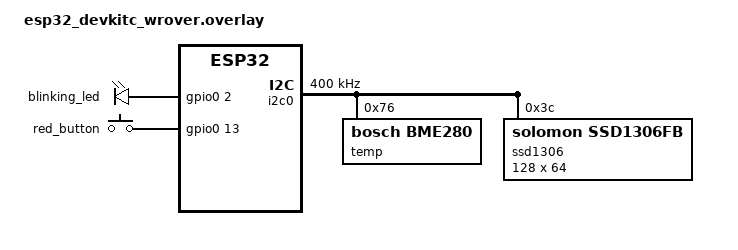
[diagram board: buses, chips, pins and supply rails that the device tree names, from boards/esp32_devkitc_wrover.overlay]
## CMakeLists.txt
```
cmake_minimum_required(VERSION 3.22)
# Determine the build type
if (NOT BUILD_TYPE)
  set(BUILD_TYPE debug)
endif()

# Print out build type
message(STATUS "Build type: ${BUILD_TYPE} 🚀")

set(BOARD esp32)
# set(SHIELD ssd1306_128x32)

find_package(Zephyr)

project(zephyr-oled-project)

target_sources(app PRIVATE 
    src/main.c
    src/button.c
    )
```

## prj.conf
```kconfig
#CONFIG_PWM=y

# GPIO
CONFIG_GPIO=y

# Logging
CONFIG_LOG=y
CONFIG_CONSOLE=y
CONFIG_LOG_DEFAULT_LEVEL=3 

# Sensors
CONFIG_I2C=y
CONFIG_SENSOR=y

# Display
CONFIG_DISPLAY=y
# CONFIG_DISPLAY_LOG_LEVEL_DBG=y
CONFIG_SSD1306=y
CONFIG_DISPLAY_LOG_LEVEL_ERR=y
CONFIG_CHARACTER_FRAMEBUFFER=n


# LVLG

CONFIG_LV_Z_BITS_PER_PIXEL=1
CONFIG_LV_COLOR_DEPTH_1=y
CONFIG_LVGL=y
CONFIG_LV_USE_THEME_DEFAULT=n
CONFIG_LV_Z_VDB_SIZE=100
CONFIG_LV_FONT_DEFAULT_UNSCII_8=y
CONFIG_LV_USE_LOG=y

# Size of the memory region from which lvgl memory is allocated
#CONFIG_LV_Z_MEM_POOL_SIZE=200


# Do not include every widget/theme by default, enable them as needed.
# CONFIG_LV_CONF_MINIMAL=y

#CONFIG_LV_MEM_CUSTOM=y  
# CONFIG_LV_ATTRIBUTE_FAST_MEM_USE_IRAM=y

# CONFIG_LV_FONT_CUSTOM=y
# CONFIG_LV_FONT_CUSTOM_DECLARE="roboto-medium.ttf=roberto"


# CONFIG_LV_MEM_CUSTOM=y
# CONFIG_LV_USE_LABEL=y
# CONFIG_LV_USE_CANVAS=y

#CONFIG_LV_LOG_LEVEL_INFO=y
 
# CONFIG_LV_DPI_DEF=148





# Shell
CONFIG_SHELL=y
CONFIG_I2C_SHELL=y
#CONFIG_SSD1306_SH1106_COMPATIBLE=y
```

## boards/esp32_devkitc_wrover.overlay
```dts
#include <zephyr/dt-bindings/gpio/gpio.h>
//#include <zephyr/drivers/sensor.h>
/ {
    leds {
        compatible = "gpio-leds";
        blinking_led: blinking_led {
            gpios = <&gpio0 2 GPIO_ACTIVE_HIGH>;
        };
    };
    buttons {
        compatible = "gpio-keys";
        red_button: button {
            gpios = <&gpio0 13 GPIO_ACTIVE_HIGH>;
        };

    };
    chosen {
        zephyr,display = &ssd1306;
    };
};

&i2c0 {
    status = "okay";
    compatible = "espressif,esp32-i2c";
    clock-frequency = <I2C_BITRATE_FAST>;

    temp: bme280@76 {
        compatible = "bosch,bme280";
        reg = <0x76>;
    };

    ssd1306: ssd1306@3c {
        
        compatible = "solomon,ssd1306fb";

        reg = <0x3c>;
        height = <64>;
        width = <128>;
        segment-offset = <0>;
        page-offset = <0>;
        display-offset = <0>;
        multiplex-ratio = <63>;
        prechargep = <0x22>;
        segment-remap;
        com-invdir;
        com-sequential;
        inversion-on;

    };

};
```

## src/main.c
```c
#include <zephyr/kernel.h>
#include <zephyr/drivers/gpio.h>
#include <zephyr/drivers/display.h>
#include <zephyr/device.h>

#include <zephyr/logging/log.h>
#include <zephyr/display/cfb.h>

#include "button.h"
#include <zephyr/drivers/sensor.h>

#include <lvgl.h>
#include <stdio.h>
#include <string.h>
#include <zephyr/zephyr.h>

// Init logging module and set name
LOG_MODULE_REGISTER(main);

#define LV_HOR_RES_MAX 128
#define LV_VER_RES_MAX 64

#define LV_COLOR_BLACK 0x000000
#define LV_COLOR_WHITE 0xFFFFFF

static lv_obj_t *temp_label, *temp_value_label;
static lv_obj_t *button_press_count_label, *button_press_count_value_label;


// Declaration of all Device tree struct
static const struct device *gpio_ct_dev =
    DEVICE_DT_GET(DT_NODELABEL(gpio0));
static const int BUILTIN_LED_PIN = 2;

static const struct gpio_dt_spec led =
    GPIO_DT_SPEC_GET(DT_NODELABEL(blinking_led), gpios);

static const struct device *display = DEVICE_DT_GET(DT_NODELABEL(ssd1306));

static volatile int button_press_count=0;

/*
Methods / types used by button events
*/
static char *helper_button_evt_str(enum button_evt evt)
{
  switch (evt)
  {
  case BUTTON_EVT_PRESSED:
    return "Pressed";
  case BUTTON_EVT_RELEASED:
    return "Released";
    
  default:
    return "Unknown";
  }
}

static void button_event_handler(enum button_evt evt)
{
  button_press_count++;
  printk("Button event: %s - %d\n", helper_button_evt_str(evt),button_press_count);
  switch (evt)
  {
  case BUTTON_EVT_PRESSED:
    //gpio_pin_toggle_dt(&led);
    
    break;

  default:
    break;
  }
}

/*
Initialises a button press event handers.  Implementation in button.c
*/
bool setupButtonPressEventHandler()
{
  int err = -1;

  printk("Initialising button !\n");

  err = button_init(button_event_handler);
  if (err)
  {
    printk("Button Init failed: %d\n", err);
    return false;
  }

  printk("Init succeeded. Waiting for event...\n");
  LOG_INF("Button init succeeded. Waiting for event...\n");

  return true;
}

/*
 Setup for a single LED pin.  Works fine
*/
bool setupLeds()
{
  //  if (!device_is_ready(gpio_ct_dev))
  printk("Initialising LEDs !\n");
  if (!device_is_ready(led.port))
  {
    return;
  }
  int ret;
  /*ret = gpio_pin_configure(gpio_ct_dev, BUILTIN_LED_PIN, GPIO_OUTPUT_ACTIVE);
   */
  ret = gpio_pin_configure_dt(&led, GPIO_OUTPUT_ACTIVE);
  if (ret != 0)
  {
    return false;
  }
  LOG_INF("LED init complete...\n");
  return true;
}

// Basic steps, required for all display libraries
static bool setupDisplayDevice()
{
  printk("Initialising display !\n");
  if (display == NULL)
  {
    printk("Display device pointer is null !\n");
    LOG_ERR("Display device pointer is null");
    return false;
  }

  if (!device_is_ready(display))
  {
    printk("Display device not ready!\n");
    LOG_ERR("Display device not ready");
    return false;
  }

  /*
    LVGL INIT steps, as recommended by ChatGPT
    Both init and register methods not recognised at compile time
  */

  // lv_init();
  // lv_disp_drv_t disp_drv;
  // lv_disp_driv_init(&disp_drv);
  // // disp_drv.flush_cb = my_flush_cb;
  // lv_disp_driv_register(&disp_drv);
  // LOG_INF("LV display components initialised");
  return true;
};



//------------------------------------------------------------------------------------------
// Works, but maybe an error with memory allocation
//-------------------------------------------------------------------------------------------
 static void add_controls_to_display_LVGL(void)
{
  LOG_INF("add_controls_to_display_LVGL started\n");

  //  #define DRAW_BUF_SIZE  (128 * 64 / 10 * (LV_COLOR_DEPTH / 8))
  // uint32_t draw_buf[DRAW_BUF_SIZE / 4];
  lv_init();
  // size_t lvglMemory = 180000;
  // lv_mem_alloc(lvglMemory);

  LOG_INF("LVGL - init OK\n");

  static lv_style_t stSmall;
  lv_style_init(&stSmall);
  lv_style_set_text_font(&stSmall, &lv_font_unscii_8);

  // lv_style_set_text_font(&stRoberto, &rob);

  //Set counter controls
  temp_label = lv_label_create(lv_scr_act());
  lv_label_set_text(temp_label, "Counter:");
  lv_obj_align(temp_label, LV_ALIGN_TOP_LEFT, 0, 0);
  lv_obj_add_style(temp_label, &stSmall, 0);

  temp_value_label = lv_label_create(lv_scr_act());
  lv_label_set_text(temp_value_label, "*");
  lv_obj_align(temp_value_label, LV_ALIGN_TOP_LEFT, 65, 0);
  lv_obj_add_style(temp_value_label, &stSmall, 0);


  //NOT YET IMPLEMENTED
  button_press_count_label = lv_label_create(lv_scr_act());
  lv_label_set_text(button_press_count_label, "Btn Press Cnt:");
  lv_obj_align(button_press_count_label, LV_ALIGN_TOP_LEFT, 0, 12);
  lv_obj_add_style(button_press_count_label, &stSmall, 0);

  button_press_count_value_label = lv_label_create(lv_scr_act());
  lv_label_set_text(button_press_count_value_label, "*");
  lv_obj_align(button_press_count_value_label, LV_ALIGN_TOP_LEFT, 0, 20);
  lv_obj_add_style(button_press_count_value_label, &stSmall, 0);

  LOG_INF("LVGL - labels created\n");

  lv_task_handler();

}
static void updateDisplay(int loopIndex)
{
  char label_value[11] ;
  // Update Label with loop index
   snprintf(label_value, sizeof(label_value) - 1, "%d", loopIndex);
  lv_label_set_text(temp_value_label, label_value);


// Not implemented

   snprintf(label_value, sizeof(label_value) - 1, "%d", button_press_count);
  lv_label_set_text(button_press_count_value_label, label_value);


  // Update LVGL tasks
  lv_task_handler();
}
int main(void)
{

  /*-------------------
  -Setup
  ---------------------*/
  int ret;

  LOG_INF("Setup inititated. .  . .\n");
  setupLeds();
  setupButtonPressEventHandler();
  setupDisplayDevice();

  // k_msleep(2000);

  add_controls_to_display_LVGL();

  // Test the display - This method runs OK
  // displayHelloWorldMessage_CFB();

  // Main Loop that toggles led state (just to signify that everything has initialied)
  volatile int loopIndex = 0;
  gpio_pin_set_dt(&led, 0);
  while (true)
  {

    loopIndex++;
    //LOG_INF("Main loop - Iteration: %d...\n", loopIndex);
    updateDisplay(loopIndex);

    // Toggle led
    ret = gpio_pin_toggle_dt(&led);

    k_msleep(300);
  }
}
```

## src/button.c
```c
#include <zephyr/kernel.h>
#include <zephyr/drivers/gpio.h>
#include "button.h"

#define SW0_NODE	DT_ALIAS(sw0)

static const struct gpio_dt_spec button = GPIO_DT_SPEC_GET(DT_NODELABEL(red_button), gpios);
static struct gpio_callback button_cb_data;

static button_event_handler_t user_cb;

static void cooldown_expired(struct k_work *work)
{
    ARG_UNUSED(work);

    int val = gpio_pin_get_dt(&button);
    enum button_evt evt = val ? BUTTON_EVT_PRESSED : BUTTON_EVT_RELEASED;
    if (user_cb) {
        user_cb(evt);
    }
}

static K_WORK_DELAYABLE_DEFINE(cooldown_work, cooldown_expired);

void button_pressed(const struct device *dev, struct gpio_callback *cb,
		    uint32_t pins)
{
    k_work_reschedule(&cooldown_work, K_MSEC(20));
}

int button_init(button_event_handler_t handler)
{
    int err = -1;

    if (!handler) {
        return -EINVAL;
    }

    user_cb = handler;

	if (!device_is_ready(button.port)) {
		return -EIO;
	}

	err = gpio_pin_configure_dt(&button, GPIO_INPUT);
	if (err) {
        return err;
	}

	err = gpio_pin_interrupt_configure_dt(&button, GPIO_INT_EDGE_BOTH);
	if (err) {
		return err;
	}

	gpio_init_callback(&button_cb_data, button_pressed, BIT(button.pin));
	err = gpio_add_callback(button.port, &button_cb_data);
    if (err) {
        return err;
    }

    return 0;
}
```

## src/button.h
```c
#ifndef _BUTTON_H_
#define _BUTTON_H_

enum button_evt {
    BUTTON_EVT_PRESSED,
    BUTTON_EVT_RELEASED
};

typedef void (*button_event_handler_t)(enum button_evt evt);

int button_init(button_event_handler_t handler);

#endif /* _BUTTON_H_ */
```
